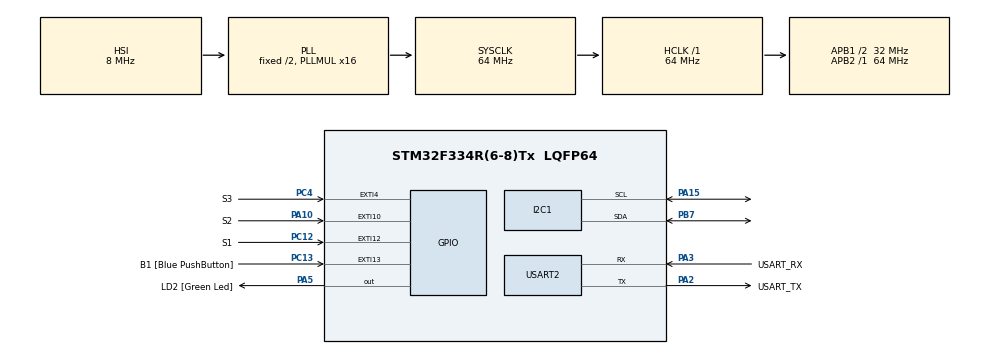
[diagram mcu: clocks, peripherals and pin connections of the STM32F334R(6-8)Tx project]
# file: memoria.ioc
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Mcu.Family=STM32F3
Mcu.Name=STM32F334R(6-8)Tx
Mcu.Package=LQFP64
NVIC.EXTI15_10_IRQn=true\:0\:0\:false\:false\:true\:true\:true
NVIC.EXTI4_IRQn=true\:0\:0\:false\:false\:true\:true\:true
NVIC.PriorityGroup=NVIC_PRIORITYGROUP_0
PA10.GPIO_Label=S2
PA10.Signal=GPXTI10
PA13.GPIO_Label=TMS
PA13.Mode=Serial_Wire
PA13.Signal=SYS_JTMS-SWDIO
PA14.GPIO_Label=TCK
PA14.Mode=Serial_Wire
PA14.Signal=SYS_JTCK-SWCLK
PA15.Mode=I2C
PA15.Signal=I2C1_SCL
PA2.GPIO_Label=USART_TX
PA2.Mode=Asynchronous
PA2.Signal=USART2_TX
PA3.GPIO_Label=USART_RX
PA3.Mode=Asynchronous
PA3.Signal=USART2_RX
PA5.GPIO_Label=LD2 [Green Led]
PA5.Signal=GPIO_Output
PB3.GPIO_Label=SWO
PB3.Signal=SYS_JTDO-TRACESWO
PB7.Mode=I2C
PB7.Signal=I2C1_SDA
PC12.GPIO_Label=S1
PC12.Signal=GPXTI12
PC13.GPIO_Label=B1 [Blue PushButton]
PC13.GPIO_ModeDefaultEXTI=GPIO_MODE_IT_FALLING
PC13.Signal=GPXTI13
PC14\ /\ OSC32_IN.Mode=LSE-External-Oscillator
PC14\ /\ OSC32_IN.Signal=RCC_OSC32_IN
PC15\ /\ OSC32_OUT.GPIO_Label=RCC_OSC32_OUT
PC15\ /\ OSC32_OUT.Mode=LSE-External-Oscillator
PC15\ /\ OSC32_OUT.Signal=RCC_OSC32_OUT
PC4.GPIO_Label=S3
PC4.Signal=GPXTI4
PF0\ /\ OSC_IN.Mode=HSE-External-Clock-Source
PF0\ /\ OSC_IN.Signal=RCC_OSC_IN
PF1\ /\ OSC_OUT.Signal=RCC_OSC_OUT
ProjectManager.HeapSize=0x200
ProjectManager.StackSize=0x400
ProjectManager.TargetToolchain=STM32CubeIDE
RCC.AHBFreq_Value=64000000
RCC.APB1CLKDivider=RCC_HCLK_DIV2
RCC.APB1Freq_Value=32000000
RCC.APB1TimFreq_Value=64000000
RCC.APB2Freq_Value=64000000
RCC.APB2TimFreq_Value=64000000
RCC.CortexFreq_Value=64000000
RCC.FLatency-AdvancedSettings=FLASH_LATENCY_2
RCC.HCLKFreq_Value=64000000
RCC.HSE_VALUE=8000000
RCC.HSI_VALUE=8000000
RCC.PLLMUL=RCC_PLL_MUL16
RCC.SYSCLKFreq_VALUE=64000000
RCC.SYSCLKSourceVirtual=RCC_SYSCLKSOURCE_PLLCLK
USART2.VirtualMode-Asynchronous=VM_ASYNC
board=NUCLEO-F334R8

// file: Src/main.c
/* USER CODE BEGIN Header */
/**
  ******************************************************************************
  * @file           : main.c
  * @brief          : Main program body
  ******************************************************************************
  * @attention
  *
  * <h2><center>&copy; Copyright (c) 2019 STMicroelectronics.
  * All rights reserved.</center></h2>
  *
  * This software component is licensed by ST under BSD 3-Clause license,
  * the "License"; You may not use this file except in compliance with the
  * License. You may obtain a copy of the License at:
  *                        opensource.org/licenses/BSD-3-Clause
  *
  ******************************************************************************
  */
/* USER CODE END Header */

#include "main.h"

/* USER CODE BEGIN PD */
#define EEPROM_ADDRESS 0xA0

/* USER CODE END PD */

I2C_HandleTypeDef hi2c1;

UART_HandleTypeDef huart2;

void SystemClock_Config(void);
static void MX_GPIO_Init(void);
static void MX_USART2_UART_Init(void);
static void MX_I2C1_Init(void);

/* USER CODE BEGIN 0 */
uint8_t data[5]; // Dado para cada posicao de memoria
int flag = 0;
char result[40];

/* USER CODE END 0 */

int main(void)
{

  /* MCU Configuration--------------------------------------------------------*/

  /* Reset of all peripherals, Initializes the Flash interface and the Systick. */
  HAL_Init();

  /* Configure the system clock */
  SystemClock_Config();

  /* Initialize all configured peripherals */
  MX_GPIO_Init();
  MX_USART2_UART_Init();
  MX_I2C1_Init();

  /* Infinite loop */
  while (1)
  {

    /* USER CODE BEGIN 3 */
	  HAL_I2C_Master_Transmit(&hi2c1, EEPROM_ADDRESS , data, 2, 1000);
	  HAL_Delay(500);
	  HAL_I2C_Master_Receive(&hi2c1, EEPROM_ADDRESS , &data[2], 3, 1000);

	  sprintf(result,"Data 1: %d\r\nData 2: %d\r\nData 3: %d\r\n", data[2],data[3],data[4]);

	  HAL_UART_Transmit(&huart2, result, strlen(result), 1000);
	  HAL_Delay(1000);

	  if(flag == 1) {
		HAL_I2C_Master_Transmit(&hi2c1, EEPROM_ADDRESS , data, 5, 1000);
		flag = 0;
	  }
  }
  /* USER CODE END 3 */
}

void SystemClock_Config(void)
{
  RCC_OscInitTypeDef RCC_OscInitStruct = {0};
  RCC_ClkInitTypeDef RCC_ClkInitStruct = {0};
  RCC_PeriphCLKInitTypeDef PeriphClkInit = {0};

  /** Initializes the CPU, AHB and APB busses clocks
  */
  RCC_OscInitStruct.OscillatorType = RCC_OSCILLATORTYPE_HSI;
  RCC_OscInitStruct.HSIState = RCC_HSI_ON;
  RCC_OscInitStruct.HSICalibrationValue = RCC_HSICALIBRATION_DEFAULT;
  RCC_OscInitStruct.PLL.PLLState = RCC_PLL_ON;
  RCC_OscInitStruct.PLL.PLLSource = RCC_PLLSOURCE_HSI;
  RCC_OscInitStruct.PLL.PLLMUL = RCC_PLL_MUL16;
  if (HAL_RCC_OscConfig(&RCC_OscInitStruct) != HAL_OK)
  {
    Error_Handler();
  }
  /** Initializes the CPU, AHB and APB busses clocks
  */
  RCC_ClkInitStruct.ClockType = RCC_CLOCKTYPE_HCLK|RCC_CLOCKTYPE_SYSCLK
                              |RCC_CLOCKTYPE_PCLK1|RCC_CLOCKTYPE_PCLK2;
  RCC_ClkInitStruct.SYSCLKSource = RCC_SYSCLKSOURCE_PLLCLK;
  RCC_ClkInitStruct.AHBCLKDivider = RCC_SYSCLK_DIV1;
  RCC_ClkInitStruct.APB1CLKDivider = RCC_HCLK_DIV2;
  RCC_ClkInitStruct.APB2CLKDivider = RCC_HCLK_DIV1;

  if (HAL_RCC_ClockConfig(&RCC_ClkInitStruct, FLASH_LATENCY_2) != HAL_OK)
  {
    Error_Handler();
  }
  PeriphClkInit.PeriphClockSelection = RCC_PERIPHCLK_I2C1;
  PeriphClkInit.I2c1ClockSelection = RCC_I2C1CLKSOURCE_HSI;
  if (HAL_RCCEx_PeriphCLKConfig(&PeriphClkInit) != HAL_OK)
  {
    Error_Handler();
  }
}

static void MX_I2C1_Init(void)
{

  hi2c1.Instance = I2C1;
  hi2c1.Init.Timing = 0x2000090E;
  hi2c1.Init.OwnAddress1 = 0;
  hi2c1.Init.AddressingMode = I2C_ADDRESSINGMODE_7BIT;
  hi2c1.Init.DualAddressMode = I2C_DUALADDRESS_DISABLE;
  hi2c1.Init.OwnAddress2 = 0;
  hi2c1.Init.OwnAddress2Masks = I2C_OA2_NOMASK;
  hi2c1.Init.GeneralCallMode = I2C_GENERALCALL_DISABLE;
  hi2c1.Init.NoStretchMode = I2C_NOSTRETCH_DISABLE;
  if (HAL_I2C_Init(&hi2c1) != HAL_OK)
  {
    Error_Handler();
  }
  /** Configure Analogue filter
  */
  if (HAL_I2CEx_ConfigAnalogFilter(&hi2c1, I2C_ANALOGFILTER_ENABLE) != HAL_OK)
  {
    Error_Handler();
  }
  /** Configure Digital filter
  */
  if (HAL_I2CEx_ConfigDigitalFilter(&hi2c1, 0) != HAL_OK)
  {
    Error_Handler();
  }

}

static void MX_USART2_UART_Init(void)
{

  huart2.Instance = USART2;
  huart2.Init.BaudRate = 38400;
  huart2.Init.WordLength = UART_WORDLENGTH_8B;
  huart2.Init.StopBits = UART_STOPBITS_1;
  huart2.Init.Parity = UART_PARITY_NONE;
  huart2.Init.Mode = UART_MODE_TX_RX;
  huart2.Init.HwFlowCtl = UART_HWCONTROL_NONE;
  huart2.Init.OverSampling = UART_OVERSAMPLING_16;
  huart2.Init.OneBitSampling = UART_ONE_BIT_SAMPLE_DISABLE;
  huart2.AdvancedInit.AdvFeatureInit = UART_ADVFEATURE_NO_INIT;
  if (HAL_UART_Init(&huart2) != HAL_OK)
  {
    Error_Handler();
  }

}

static void MX_GPIO_Init(void)
{
  GPIO_InitTypeDef GPIO_InitStruct = {0};

  /* GPIO Ports Clock Enable */
  __HAL_RCC_GPIOC_CLK_ENABLE();
  __HAL_RCC_GPIOF_CLK_ENABLE();
  __HAL_RCC_GPIOA_CLK_ENABLE();
  __HAL_RCC_GPIOB_CLK_ENABLE();

  /*Configure GPIO pin Output Level */
  HAL_GPIO_WritePin(LD2_GPIO_Port, LD2_Pin, GPIO_PIN_RESET);

  /*Configure GPIO pin : B1_Pin */
  GPIO_InitStruct.Pin = B1_Pin;
  GPIO_InitStruct.Mode = GPIO_MODE_IT_FALLING;
  GPIO_InitStruct.Pull = GPIO_NOPULL;
  HAL_GPIO_Init(B1_GPIO_Port, &GPIO_InitStruct);

  /*Configure GPIO pin : LD2_Pin */
  GPIO_InitStruct.Pin = LD2_Pin;
  GPIO_InitStruct.Mode = GPIO_MODE_OUTPUT_PP;
  GPIO_InitStruct.Pull = GPIO_NOPULL;
  GPIO_InitStruct.Speed = GPIO_SPEED_FREQ_LOW;
  HAL_GPIO_Init(LD2_GPIO_Port, &GPIO_InitStruct);

  /*Configure GPIO pins : S3_Pin S1_Pin */
  GPIO_InitStruct.Pin = S3_Pin|S1_Pin;
  GPIO_InitStruct.Mode = GPIO_MODE_IT_RISING;
  GPIO_InitStruct.Pull = GPIO_NOPULL;
  HAL_GPIO_Init(GPIOC, &GPIO_InitStruct);

  /*Configure GPIO pin : S2_Pin */
  GPIO_InitStruct.Pin = S2_Pin;
  GPIO_InitStruct.Mode = GPIO_MODE_IT_RISING;
  GPIO_InitStruct.Pull = GPIO_NOPULL;
  HAL_GPIO_Init(S2_GPIO_Port, &GPIO_InitStruct);

  /* EXTI interrupt init*/
  HAL_NVIC_SetPriority(EXTI4_IRQn, 0, 0);
  HAL_NVIC_EnableIRQ(EXTI4_IRQn);

  HAL_NVIC_SetPriority(EXTI15_10_IRQn, 0, 0);
  HAL_NVIC_EnableIRQ(EXTI15_10_IRQn);

}

/* USER CODE BEGIN 4 */

void HAL_GPIO_EXTI_Callback(uint16_t GPIO_Pin)
{
	if(GPIO_Pin == B1_Pin){
		data[2] = 0;
		data[3] = 0;
		data[4] = 0;
		HAL_UART_Transmit(&huart2, "Resetado", 9, 1000);
	}

	if(GPIO_Pin == S1_Pin) {
		data[2]++;
	}

	if(GPIO_Pin == S2_Pin) {
		data[3]++;
	}

	if(GPIO_Pin == S3_Pin) {
		data[4]++;
	}

	flag = 1;
}

/* USER CODE END 4 */

void Error_Handler(void)
{
}

/************************ (C) COPYRIGHT STMicroelectronics *****END OF FILE****/
